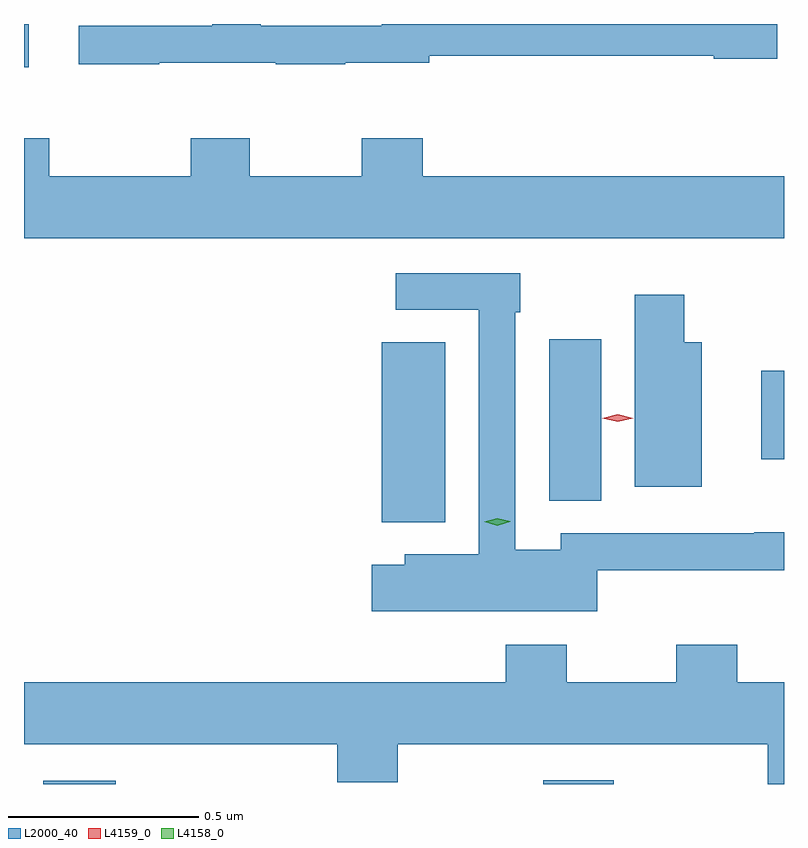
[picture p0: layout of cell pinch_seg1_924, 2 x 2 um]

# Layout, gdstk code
import gdstk
lib = gdstk.Library(unit=1e-6, precision=1e-09)
def R(c, l, rs):  # rectangles x0, y0, x1, y1
    for r in rs: c.add(gdstk.rectangle(r[:2], r[2:], *l))
def P(c, l, *ps):  # polygons
    for p in ps: c.add(gdstk.Polygon(p, *l))
L2000_40 = (2000, 40)
L4158_0 = (4158, 0)
L4159_0 = (4159, 0)

pinch_seg1_924 = lib.new_cell('pinch_seg1_924')
R(pinch_seg1_924, L2000_40, [(542.982,523.656,543.172,523.665), (544.298,523.656,544.483,523.666), (543.872,524.345,544.039,524.819), (544.313,524.401,544.45,524.827), (544.871,524.51,544.931,524.743), (542.931,525.542,542.944,525.656)])
P(pinch_seg1_924, L2000_40, [(543.287,525.554),(543.593,525.554),(543.593,525.55),(543.776,525.55),(543.776,525.554),(543.997,525.554),(543.997,525.573),(544.746,525.573),(544.746,525.565),(544.913,525.565),(544.913,525.656),(543.872,525.656),(543.872,525.651),(543.554,525.651),(543.554,525.656),(543.427,525.656),(543.427,525.651),(543.075,525.651),(543.075,525.55),(543.287,525.55)],
  [(544.931,525.256),(543.98,525.256),(543.98,525.355),(543.82,525.355),(543.82,525.256),(543.525,525.256),(543.525,525.355),(543.37,525.355),(543.37,525.256),(542.997,525.256),(542.997,525.355),(542.931,525.355),(542.931,525.092),(544.931,525.092)],
  [(544.44,524.219),(544.931,524.219),(544.931,524.318),(544.853,524.318),(544.853,524.316),(544.344,524.316),(544.344,524.272),(544.224,524.272),(544.224,524.897),(544.237,524.897),(544.237,525),(543.909,525),(543.909,524.904),(544.128,524.904),(544.128,524.26),(543.933,524.26),(543.933,524.233),(543.846,524.233),(543.846,524.111),(544.44,524.111)],
  [(544.714,524.818),(544.668,524.818),(544.668,524.944),(544.538,524.944),(544.538,524.438),(544.714,524.438)],
  [(544.808,524.023),(544.648,524.023),(544.648,523.924),(544.359,523.924),(544.359,524.023),(544.199,524.023),(544.199,523.924),(542.931,523.924),(542.931,523.76),(543.755,523.76),(543.755,523.661),(543.915,523.661),(543.915,523.76),(544.888,523.76),(544.888,523.656),(544.931,523.656),(544.931,523.924),(544.808,523.924)])
P(pinch_seg1_924, L4158_0, [(544.176,524.336),(544.142,524.346),(544.141,524.346),(544.142,524.346),(544.176,524.356),(544.211,524.347),(544.211,524.347),(544.211,524.346)])
P(pinch_seg1_924, L4159_0, [(544.493,524.609),(544.453,524.618),(544.453,524.618),(544.453,524.618),(544.493,524.629),(544.534,524.619),(544.534,524.619),(544.534,524.619)])

lib.write_gds('pinch_seg1_924.gds')
